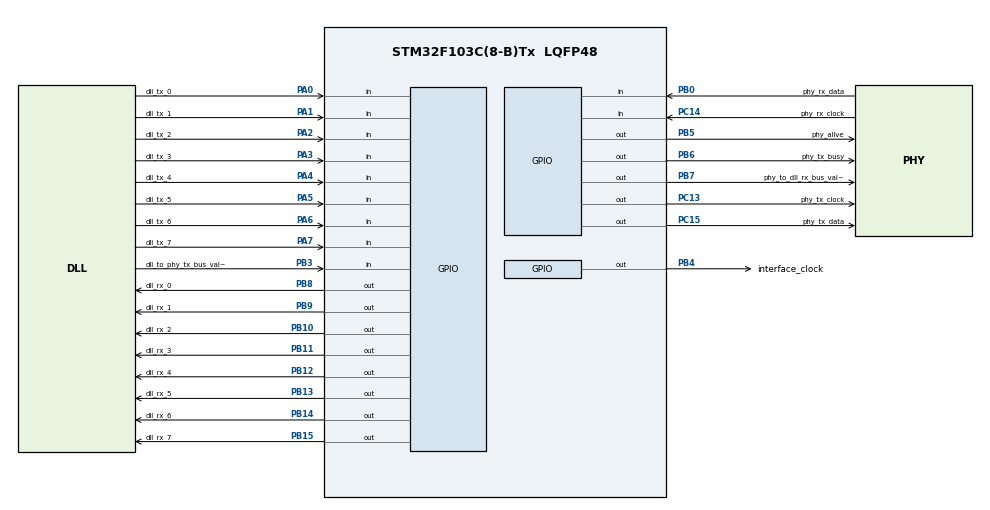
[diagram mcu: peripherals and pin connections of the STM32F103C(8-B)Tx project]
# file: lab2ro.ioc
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Mcu.Family=STM32F1
Mcu.Name=STM32F103C(8-B)Tx
Mcu.Package=LQFP48
NVIC.PriorityGroup=NVIC_PRIORITYGROUP_4
NVIC.TIM2_IRQn=true\:0\:0\:false\:true\:true\:1\:true
NVIC.TIM3_IRQn=true\:0\:0\:false\:true\:true\:2\:true
PA0-WKUP.GPIO_Label=dll_tx_0
PA0-WKUP.GPIO_PuPd=GPIO_PULLDOWN
PA0-WKUP.Signal=GPIO_Input
PA1.GPIO_Label=dll_tx_1
PA1.GPIO_PuPd=GPIO_PULLDOWN
PA1.Signal=GPIO_Input
PA13.Mode=Serial_Wire
PA13.Signal=SYS_JTMS-SWDIO
PA14.Mode=Serial_Wire
PA14.Signal=SYS_JTCK-SWCLK
PA2.GPIO_Label=dll_tx_2
PA2.GPIO_PuPd=GPIO_PULLDOWN
PA2.Signal=GPIO_Input
PA3.GPIO_Label=dll_tx_3
PA3.GPIO_PuPd=GPIO_PULLDOWN
PA3.Signal=GPIO_Input
PA4.GPIO_Label=dll_tx_4
PA4.GPIO_PuPd=GPIO_PULLDOWN
PA4.Signal=GPIO_Input
PA5.GPIO_Label=dll_tx_5
PA5.GPIO_PuPd=GPIO_PULLDOWN
PA5.Signal=GPIO_Input
PA6.GPIO_Label=dll_tx_6
PA6.GPIO_PuPd=GPIO_PULLDOWN
PA6.Signal=GPIO_Input
PA7.GPIO_Label=dll_tx_7
PA7.GPIO_PuPd=GPIO_PULLDOWN
PA7.Signal=GPIO_Input
PB0.GPIO_Label=phy_rx_data
PB0.GPIO_PuPd=GPIO_PULLDOWN
PB0.Signal=GPIO_Input
PB10.GPIO_Label=dll_rx_2
PB10.Signal=GPIO_Output
PB11.GPIO_Label=dll_rx_3
PB11.Signal=GPIO_Output
PB12.GPIO_Label=dll_rx_4
PB12.Signal=GPIO_Output
PB13.GPIO_Label=dll_rx_5
PB13.Signal=GPIO_Output
PB14.GPIO_Label=dll_rx_6
PB14.Signal=GPIO_Output
PB15.GPIO_Label=dll_rx_7
PB15.Signal=GPIO_Output
PB3.GPIO_Label=dll_to_phy_tx_bus_valid
PB3.GPIO_PuPd=GPIO_PULLDOWN
PB3.Signal=GPIO_Input
PB4.GPIO_Label=interface_clock
PB4.Signal=GPIO_Output
PB5.GPIO_Label=phy_alive
PB5.Signal=GPIO_Output
PB6.GPIO_Label=phy_tx_busy
PB6.Signal=GPIO_Output
PB7.GPIO_Label=phy_to_dll_rx_bus_valid
PB7.Signal=GPIO_Output
PB8.GPIO_Label=dll_rx_0
PB8.Signal=GPIO_Output
PB9.GPIO_Label=dll_rx_1
PB9.Signal=GPIO_Output
PC13-TAMPER-RTC.GPIO_Label=phy_tx_clock
PC13-TAMPER-RTC.Signal=GPIO_Output
PC14-OSC32_IN.GPIO_Label=phy_rx_clock
PC14-OSC32_IN.GPIO_PuPd=GPIO_PULLDOWN
PC14-OSC32_IN.Signal=GPIO_Input
PC15-OSC32_OUT.GPIO_Label=phy_tx_data
PC15-OSC32_OUT.Signal=GPIO_Output
ProjectManager.HeapSize=0x200
ProjectManager.StackSize=0x400
ProjectManager.TargetToolchain=MDK-ARM V5
RCC.APB1Freq_Value=8000000
RCC.APB2CLKDivider=RCC_HCLK_DIV16
RCC.APB2Freq_Value=500000
RCC.APB2TimFreq_Value=1000000
TIM2.Period=4
TIM2.Prescaler=19999
TIM3.Period=1
TIM3.Prescaler=19999
VP_TIM2_VS_ClockSourceINT.Mode=Internal
VP_TIM3_VS_ClockSourceINT.Mode=Internal
board=custom

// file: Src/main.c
/**
  ******************************************************************************
  * @file           : main.c
  * @brief          : Main program body
  ******************************************************************************
  ** This notice applies to any and all portions of this file
  * that are not between comment pairs USER CODE BEGIN and
  * USER CODE END. Other portions of this file, whether
  * inserted by the user or by software development tools
  * are owned by their respective copyright owners.
  *
  * COPYRIGHT(c) 2020 STMicroelectronics
  *
  * Redistribution and use in source and binary forms, with or without modification,
  * are permitted provided that the following conditions are met:
  *   1. Redistributions of source code must retain the above copyright notice,
  *      this list of conditions and the following disclaimer.
  *   2. Redistributions in binary form must reproduce the above copyright notice,
  *      this list of conditions and the following disclaimer in the documentation
  *      and/or other materials provided with the distribution.
  *   3. Neither the name of STMicroelectronics nor the names of its contributors
  *      may be used to endorse or promote products derived from this software
  *      without specific prior written permission.
  *
  * THIS SOFTWARE IS PROVIDED BY THE COPYRIGHT HOLDERS AND CONTRIBUTORS "AS IS"
  * AND ANY EXPRESS OR IMPLIED WARRANTIES, INCLUDING, BUT NOT LIMITED TO, THE
  * IMPLIED WARRANTIES OF MERCHANTABILITY AND FITNESS FOR A PARTICULAR PURPOSE ARE
  * DISCLAIMED. IN NO EVENT SHALL THE COPYRIGHT HOLDER OR CONTRIBUTORS BE LIABLE
  * FOR ANY DIRECT, INDIRECT, INCIDENTAL, SPECIAL, EXEMPLARY, OR CONSEQUENTIAL
  * DAMAGES (INCLUDING, BUT NOT LIMITED TO, PROCUREMENT OF SUBSTITUTE GOODS OR
  * SERVICES; LOSS OF USE, DATA, OR PROFITS; OR BUSINESS INTERRUPTION) HOWEVER
  * CAUSED AND ON ANY THEORY OF LIABILITY, WHETHER IN CONTRACT, STRICT LIABILITY,
  * OR TORT (INCLUDING NEGLIGENCE OR OTHERWISE) ARISING IN ANY WAY OUT OF THE USE
  * OF THIS SOFTWARE, EVEN IF ADVISED OF THE POSSIBILITY OF SUCH DAMAGE.
  *
  ******************************************************************************
  */
#include "main.h"
#include "stm32f1xx_hal.h"

/* USER CODE BEGIN Includes */
#include <stdint.h>
#define GPIOA_IDR 0x40010808
#define GPIOB_ODR 0x40010C0C
/* USER CODE END Includes */

TIM_HandleTypeDef htim2;
TIM_HandleTypeDef htim3;

/* USER CODE BEGIN PV */
/* Private variables ---------------------------------------------------------*/
uint32_t phy_to_dll_rx_bus = 0; // saves the data recived from the phy to phy and moves it to the dll_rx

uint8_t phy_to_dll_rx_bus_valid = 0; // checks if there is data to be transferd to the dll_rx from the phy layer

uint32_t dll_to_phy_tx_bus = 0; // saves the original data we want to transfer to the phy layer from the dll tx.

uint8_t dll_to_phy_tx_bus_valid = 0; // checks if theres data allready transferd from the dll to the [hy layer

uint8_t phy_tx_busy = 0; // checks if there is data being transmited at the moment.

int delay =0;
static uint8_t pr_clock_val=0;
static uint8_t p_clock_val = 0;
static uint32_t Rx_value = 0;
static uint32_t Tx_value = 0;
static uint8_t Rx_clock_value ;
static uint8_t Tx_clock_value ;
static uint16_t t_data =0;
static uint32_t c_clock=0;
int ft_flag=1;
static uint32_t prv_clock=0;
int ft2_flag=1;
uint8_t data=0;
uint8_t interface_tx_flag=0;
uint8_t interface_rx_flag=0;
static uint32_t *GPIOA_IDR_Pointer = (uint32_t*)GPIOA_IDR;
static uint32_t *GPIOB_ODR_Pointer = (uint32_t*)GPIOB_ODR;
static uint16_t odr_temp=0;
static uint32_t tempi = 0;
static uint32_t tempi2 = 0;

uint8_t senders[] = {201,0,192,0,223};
/* USER CODE END PV */

void SystemClock_Config(void);
static void MX_GPIO_Init(void);
static void MX_TIM2_Init(void);
static void MX_TIM3_Init(void);
static void MX_NVIC_Init(void);

/* USER CODE BEGIN PFP */
/* Private function prototypes -----------------------------------------------*/

/* USER CODE END PFP */

/* USER CODE BEGIN 0 */
void phy_Tx()
{
	static uint16_t shifter =1; // for the masking in order to iso the bit
	static uint8_t transfer = 0; // var to the masked bit // saves the prev clock value in order to check that we are in rising edge
	static uint8_t temp=0;	// takes the data from the bus
	Tx_clock_value = HAL_GPIO_ReadPin(phy_tx_clock_GPIO_Port, phy_tx_clock_Pin); // reads the current value of the clcok
	if(interface_tx_flag){  // checkes if we are in a new byte
		HAL_GPIO_WritePin(phy_tx_busy_GPIO_Port, phy_tx_busy_Pin, GPIO_PIN_SET); //set phy busy to 1
		HAL_TIM_Base_Start(&htim3); //turn on timer
		HAL_TIM_Base_Start_IT(&htim3);
		interface_tx_flag=0;
	}
	else if (Tx_clock_value && (!p_clock_val) && shifter <= 256) // checks if we are in a rising edge
	{
			transfer = ((dll_to_phy_tx_bus) &	(shifter));
			if (transfer == shifter)
			{
				HAL_GPIO_WritePin (phy_tx_data_GPIO_Port, phy_tx_data_Pin, GPIO_PIN_SET);	//inserts one to the data
				Tx_value =1;
			}
			else
			{
				HAL_GPIO_WritePin (phy_tx_data_GPIO_Port, phy_tx_data_Pin, GPIO_PIN_RESET); // inserts zero to data
				Tx_value =0;
			}
			shifter = shifter*2;
	}
	else if ( shifter > 256) // after the last bit
	{
		HAL_TIM_Base_Stop(&htim3);
		HAL_TIM_Base_Stop_IT(&htim3);
		HAL_GPIO_WritePin(phy_tx_clock_GPIO_Port, phy_tx_clock_Pin ,GPIO_PIN_RESET); //set clock to zero
		HAL_GPIO_WritePin(phy_tx_busy_GPIO_Port, phy_tx_busy_Pin, GPIO_PIN_RESET); //set phy busy to 1
		shifter =1; // reset the masker
	}
	p_clock_val = Tx_clock_value; // current clock into previos clock
}

void phy_Rx()
{
	static uint32_t tempi = 0;
	static uint32_t tempi2 = 0;
	static uint32_t s_counter =1; // counter for inserting the number  // prev clock
	Rx_clock_value = HAL_GPIO_ReadPin(phy_rx_clock_GPIO_Port, phy_rx_clock_Pin); // reads the current clock value
	if ( (!Rx_clock_value) && pr_clock_val) // checks that we are in falling edge
	{
		Rx_value = HAL_GPIO_ReadPin (phy_rx_data_GPIO_Port, phy_rx_data_Pin); // reads the data from the pin
		tempi = Rx_value * s_counter;
		tempi2 += tempi;
		s_counter = s_counter*2;
	}
	if (s_counter > 256)
	{
		s_counter =1;
		phy_to_dll_rx_bus = tempi2;
		interface_rx_flag =1;
		tempi2=0;
	}
	pr_clock_val = Rx_clock_value;

}

/*void phy_Rx()
{
	static uint32_t tempi = 0;
	static uint32_t tempi2 = 0;
	static uint32_t s_counter =1; // counter for inserting the number  // prev clock
	Rx_clock_value = HAL_GPIO_ReadPin(phy_rx_clock_GPIO_Port, phy_rx_clock_Pin); // reads the current clock value
	if ( (!Rx_clock_value) && pr_clock_val) // checks that we are in falling edge
	{
		Rx_value = HAL_GPIO_ReadPin (phy_rx_data_GPIO_Port, phy_rx_data_Pin); // reads the data from the pin
		tempi2 = Rx_value * s_counter;
		phy_to_dll_rx_bus += tempi2;// moves the bit for the correct spot and inserts in to the bus
		s_counter *=2;
	}
	pr_clock_val = Rx_clock_value;
	if (s_counter > 128){
		s_counter = 1;
		interface_rx_flag=1;
	}
}*/

void interface()
{
	uint32_t efi =0; // just kidding efi num 1 also oren
	if (ft_flag)
	{
		HAL_TIM_Base_Start(&htim2);
		HAL_TIM_Base_Start_IT(&htim2);
		ft_flag=0;
		prv_clock=0;
	}
	c_clock=HAL_GPIO_ReadPin(interface_clock_GPIO_Port, interface_clock_Pin);
	dll_to_phy_tx_bus_valid=HAL_GPIO_ReadPin(dll_to_phy_tx_bus_valid_GPIO_Port, dll_to_phy_tx_bus_valid_Pin);
	if(!c_clock&&prv_clock&&dll_to_phy_tx_bus_valid)
	{
		dll_to_phy_tx_bus=(*GPIOA_IDR_Pointer & 255);
		interface_tx_flag=1;
	}
	else if ((c_clock)&&(!prv_clock))
		{
			if (ft2_flag)
			{
				HAL_GPIO_WritePin(phy_alive_GPIO_Port, phy_alive_Pin,GPIO_PIN_SET);
				ft2_flag=0;
			}
			phy_to_dll_rx_bus_valid=HAL_GPIO_ReadPin(phy_to_dll_rx_bus_valid_GPIO_Port, phy_to_dll_rx_bus_valid_Pin);
			if (phy_to_dll_rx_bus_valid)
			{
				HAL_GPIO_WritePin(phy_to_dll_rx_bus_valid_GPIO_Port, phy_to_dll_rx_bus_valid_Pin,GPIO_PIN_RESET);
			}
			if (interface_rx_flag)
			{
				efi = (phy_to_dll_rx_bus<<8) + (*GPIOB_ODR_Pointer & 255);
				*GPIOB_ODR_Pointer = efi;
				HAL_GPIO_WritePin(phy_to_dll_rx_bus_valid_GPIO_Port,phy_to_dll_rx_bus_valid_Pin,GPIO_PIN_SET);
				phy_to_dll_rx_bus_valid =1;
				//phy_to_dll_rx_bus=0;
				interface_rx_flag=0;
			}
		}
	prv_clock=c_clock;

}

/*void interface()
{
	static uint32_t *GPIOA_IDR_Pointer = (uint32_t*)GPIOA_IDR;
	static uint32_t *GPIOB_ODR_Pointer = (uint32_t*)GPIOB_ODR;
	static uint16_t odr_temp=0;
	if (ft_flag)
	{
	HAL_TIM_Base_Start(&htim2); //turn on timer
	HAL_TIM_Base_Start_IT(&htim2);
	ft_flag=0;
	}
	c_clock=HAL_GPIO_ReadPin(interface_clock_GPIO_Port, interface_clock_Pin);
	if ((c_clock)&&(!prv_clock) && (ft2_flag))
	{
	  ft2_flag=0;
		HAL_GPIO_WritePin(phy_alive_GPIO_Port,phy_alive_Pin,GPIO_PIN_SET);
	}
	dll_to_phy_tx_bus_valid = HAL_GPIO_ReadPin(dll_to_phy_tx_bus_valid_GPIO_Port, dll_to_phy_tx_bus_valid_Pin);
	if(!c_clock&&prv_clock&&dll_to_phy_tx_bus_valid)
	{
		dll_to_phy_tx_bus=(*GPIOA_IDR_Pointer & mask);
		interface_tx_flag=1;
	}
	else if (c_clock&&!prv_clock)
	{

		*GPIOB_ODR_Pointer=dll_to_phy_tx_bus;
		phy_to_dll_rx_bus_valid=HAL_GPIO_ReadPin(phy_to_dll_rx_bus_valid_GPIO_Port,phy_to_dll_rx_bus_valid_Pin);
		if (phy_to_dll_rx_bus_valid)
		{
			HAL_GPIO_WritePin(phy_to_dll_rx_bus_valid_GPIO_Port,phy_to_dll_rx_bus_valid_Pin,GPIO_PIN_RESET);
		}
		if (interface_rx_flag)
		{
			odr_temp=(*GPIOB_ODR_Pointer & mask);
			phy_to_dll_rx_bus = (phy_to_dll_rx_bus<<3) + (odr_temp);
			*GPIOB_ODR_Pointer = phy_to_dll_rx_bus;
			HAL_GPIO_WritePin(phy_to_dll_rx_bus_valid_GPIO_Port,phy_to_dll_rx_bus_valid_Pin,GPIO_PIN_SET);
			interface_rx_flag=0;
		}
	}
	prv_clock=c_clock;
}*/

void phy_layer()
{
	phy_Tx();
	phy_Rx();

}

void sampleClocks()
{
	p_clock_val=Tx_clock_value;
	pr_clock_val=Rx_clock_value;
	//prv_clock=c_clock;
	Tx_clock_value=HAL_GPIO_ReadPin(phy_tx_clock_GPIO_Port, phy_tx_clock_Pin);
	Rx_clock_value=HAL_GPIO_ReadPin(phy_rx_clock_GPIO_Port, phy_rx_clock_Pin);
	//c_clock=HAL_GPIO_ReadPin(interface_clock_GPIO_Port, interface_clock_Pin);
	//dll_to_phy_tx_bus_valid=HAL_GPIO_ReadPin(dll_to_phy_tx_bus_valid_GPIO_Port, dll_to_phy_tx_bus_valid_Pin);
}

/* USER CODE END 0 */

int main(void)
{

  /* MCU Configuration----------------------------------------------------------*/

  /* Reset of all peripherals, Initializes the Flash interface and the Systick. */
  HAL_Init();

  /* Configure the system clock */
  SystemClock_Config();

  /* Initialize all configured peripherals */
  MX_GPIO_Init();
  MX_TIM2_Init();
  MX_TIM3_Init();

  /* Initialize interrupts */
  MX_NVIC_Init();
  /* USER CODE BEGIN 2 */
	HAL_GPIO_WritePin(phy_tx_clock_GPIO_Port, phy_tx_clock_Pin ,GPIO_PIN_RESET); //set clock to zero

  /* USER CODE END 2 */

  /* Infinite loop */
  /* USER CODE BEGIN WHILE */
  while (1)
  {
		//sampleClocks();
		phy_layer();
		interface();

  /* USER CODE END WHILE */

  }

}

void SystemClock_Config(void)
{

  RCC_OscInitTypeDef RCC_OscInitStruct;
  RCC_ClkInitTypeDef RCC_ClkInitStruct;

    /**Initializes the CPU, AHB and APB busses clocks
    */
  RCC_OscInitStruct.OscillatorType = RCC_OSCILLATORTYPE_HSI;
  RCC_OscInitStruct.HSIState = RCC_HSI_ON;
  RCC_OscInitStruct.HSICalibrationValue = 16;
  RCC_OscInitStruct.PLL.PLLState = RCC_PLL_NONE;
  if (HAL_RCC_OscConfig(&RCC_OscInitStruct) != HAL_OK)
  {
    _Error_Handler(__FILE__, __LINE__);
  }

    /**Initializes the CPU, AHB and APB busses clocks
    */
  RCC_ClkInitStruct.ClockType = RCC_CLOCKTYPE_HCLK|RCC_CLOCKTYPE_SYSCLK
                              |RCC_CLOCKTYPE_PCLK1|RCC_CLOCKTYPE_PCLK2;
  RCC_ClkInitStruct.SYSCLKSource = RCC_SYSCLKSOURCE_HSI;
  RCC_ClkInitStruct.AHBCLKDivider = RCC_SYSCLK_DIV1;
  RCC_ClkInitStruct.APB1CLKDivider = RCC_HCLK_DIV1;
  RCC_ClkInitStruct.APB2CLKDivider = RCC_HCLK_DIV16;

  if (HAL_RCC_ClockConfig(&RCC_ClkInitStruct, FLASH_LATENCY_0) != HAL_OK)
  {
    _Error_Handler(__FILE__, __LINE__);
  }

    /**Configure the Systick interrupt time
    */
  HAL_SYSTICK_Config(HAL_RCC_GetHCLKFreq()/1000);

    /**Configure the Systick
    */
  HAL_SYSTICK_CLKSourceConfig(SYSTICK_CLKSOURCE_HCLK);

  /* SysTick_IRQn interrupt configuration */
  HAL_NVIC_SetPriority(SysTick_IRQn, 0, 0);
}

/**
  * @brief NVIC Configuration.
  * @retval None
  */
static void MX_NVIC_Init(void)
{
  /* TIM2_IRQn interrupt configuration */
  HAL_NVIC_SetPriority(TIM2_IRQn, 0, 0);
  HAL_NVIC_EnableIRQ(TIM2_IRQn);
  /* TIM3_IRQn interrupt configuration */
  HAL_NVIC_SetPriority(TIM3_IRQn, 0, 0);
  HAL_NVIC_EnableIRQ(TIM3_IRQn);
}

/* TIM2 init function */
static void MX_TIM2_Init(void)
{

  TIM_ClockConfigTypeDef sClockSourceConfig;
  TIM_MasterConfigTypeDef sMasterConfig;

  htim2.Instance = TIM2;
  htim2.Init.Prescaler = 19999;
  htim2.Init.CounterMode = TIM_COUNTERMODE_UP;
  htim2.Init.Period = 4;
  htim2.Init.ClockDivision = TIM_CLOCKDIVISION_DIV1;
  htim2.Init.AutoReloadPreload = TIM_AUTORELOAD_PRELOAD_DISABLE;
  if (HAL_TIM_Base_Init(&htim2) != HAL_OK)
  {
    _Error_Handler(__FILE__, __LINE__);
  }

  sClockSourceConfig.ClockSource = TIM_CLOCKSOURCE_INTERNAL;
  if (HAL_TIM_ConfigClockSource(&htim2, &sClockSourceConfig) != HAL_OK)
  {
    _Error_Handler(__FILE__, __LINE__);
  }

  sMasterConfig.MasterOutputTrigger = TIM_TRGO_RESET;
  sMasterConfig.MasterSlaveMode = TIM_MASTERSLAVEMODE_DISABLE;
  if (HAL_TIMEx_MasterConfigSynchronization(&htim2, &sMasterConfig) != HAL_OK)
  {
    _Error_Handler(__FILE__, __LINE__);
  }

}

/* TIM3 init function */
static void MX_TIM3_Init(void)
{

  TIM_ClockConfigTypeDef sClockSourceConfig;
  TIM_MasterConfigTypeDef sMasterConfig;

  htim3.Instance = TIM3;
  htim3.Init.Prescaler = 19999;
  htim3.Init.CounterMode = TIM_COUNTERMODE_UP;
  htim3.Init.Period = 1;
  htim3.Init.ClockDivision = TIM_CLOCKDIVISION_DIV1;
  htim3.Init.AutoReloadPreload = TIM_AUTORELOAD_PRELOAD_DISABLE;
  if (HAL_TIM_Base_Init(&htim3) != HAL_OK)
  {
    _Error_Handler(__FILE__, __LINE__);
  }

  sClockSourceConfig.ClockSource = TIM_CLOCKSOURCE_INTERNAL;
  if (HAL_TIM_ConfigClockSource(&htim3, &sClockSourceConfig) != HAL_OK)
  {
    _Error_Handler(__FILE__, __LINE__);
  }

  sMasterConfig.MasterOutputTrigger = TIM_TRGO_RESET;
  sMasterConfig.MasterSlaveMode = TIM_MASTERSLAVEMODE_DISABLE;
  if (HAL_TIMEx_MasterConfigSynchronization(&htim3, &sMasterConfig) != HAL_OK)
  {
    _Error_Handler(__FILE__, __LINE__);
  }

}

/** Configure pins as
        * Analog
        * Input
        * Output
        * EVENT_OUT
        * EXTI
*/
static void MX_GPIO_Init(void)
{

  GPIO_InitTypeDef GPIO_InitStruct;

  /* GPIO Ports Clock Enable */
  __HAL_RCC_GPIOC_CLK_ENABLE();
  __HAL_RCC_GPIOA_CLK_ENABLE();
  __HAL_RCC_GPIOB_CLK_ENABLE();

  /*Configure GPIO pin Output Level */
  HAL_GPIO_WritePin(GPIOC, phy_tx_clock_Pin|phy_tx_data_Pin, GPIO_PIN_RESET);

  /*Configure GPIO pin Output Level */
  HAL_GPIO_WritePin(GPIOB, dll_rx_2_Pin|dll_rx_3_Pin|dll_rx_4_Pin|dll_rx_5_Pin
                          |dll_rx_6_Pin|dll_rx_7_Pin|interface_clock_Pin|phy_alive_Pin
                          |phy_tx_busy_Pin|phy_to_dll_rx_bus_valid_Pin|dll_rx_0_Pin|dll_rx_1_Pin, GPIO_PIN_RESET);

  /*Configure GPIO pins : phy_tx_clock_Pin phy_tx_data_Pin */
  GPIO_InitStruct.Pin = phy_tx_clock_Pin|phy_tx_data_Pin;
  GPIO_InitStruct.Mode = GPIO_MODE_OUTPUT_PP;
  GPIO_InitStruct.Pull = GPIO_NOPULL;
  GPIO_InitStruct.Speed = GPIO_SPEED_FREQ_LOW;
  HAL_GPIO_Init(GPIOC, &GPIO_InitStruct);

  /*Configure GPIO pin : phy_rx_clock_Pin */
  GPIO_InitStruct.Pin = phy_rx_clock_Pin;
  GPIO_InitStruct.Mode = GPIO_MODE_INPUT;
  GPIO_InitStruct.Pull = GPIO_PULLDOWN;
  HAL_GPIO_Init(phy_rx_clock_GPIO_Port, &GPIO_InitStruct);

  /*Configure GPIO pins : dll_tx_0_Pin dll_tx_1_Pin dll_tx_2_Pin dll_tx_3_Pin
                           dll_tx_4_Pin dll_tx_5_Pin dll_tx_6_Pin dll_tx_7_Pin */
  GPIO_InitStruct.Pin = dll_tx_0_Pin|dll_tx_1_Pin|dll_tx_2_Pin|dll_tx_3_Pin
                          |dll_tx_4_Pin|dll_tx_5_Pin|dll_tx_6_Pin|dll_tx_7_Pin;
  GPIO_InitStruct.Mode = GPIO_MODE_INPUT;
  GPIO_InitStruct.Pull = GPIO_PULLDOWN;
  HAL_GPIO_Init(GPIOA, &GPIO_InitStruct);

  /*Configure GPIO pins : phy_rx_data_Pin dll_to_phy_tx_bus_valid_Pin */
  GPIO_InitStruct.Pin = phy_rx_data_Pin|dll_to_phy_tx_bus_valid_Pin;
  GPIO_InitStruct.Mode = GPIO_MODE_INPUT;
  GPIO_InitStruct.Pull = GPIO_PULLDOWN;
  HAL_GPIO_Init(GPIOB, &GPIO_InitStruct);

  /*Configure GPIO pins : dll_rx_2_Pin dll_rx_3_Pin dll_rx_4_Pin dll_rx_5_Pin
                           dll_rx_6_Pin dll_rx_7_Pin interface_clock_Pin phy_alive_Pin
                           phy_tx_busy_Pin phy_to_dll_rx_bus_valid_Pin dll_rx_0_Pin dll_rx_1_Pin */
  GPIO_InitStruct.Pin = dll_rx_2_Pin|dll_rx_3_Pin|dll_rx_4_Pin|dll_rx_5_Pin
                          |dll_rx_6_Pin|dll_rx_7_Pin|interface_clock_Pin|phy_alive_Pin
                          |phy_tx_busy_Pin|phy_to_dll_rx_bus_valid_Pin|dll_rx_0_Pin|dll_rx_1_Pin;
  GPIO_InitStruct.Mode = GPIO_MODE_OUTPUT_PP;
  GPIO_InitStruct.Pull = GPIO_NOPULL;
  GPIO_InitStruct.Speed = GPIO_SPEED_FREQ_LOW;
  HAL_GPIO_Init(GPIOB, &GPIO_InitStruct);

}

void _Error_Handler(char *file, int line)
{
  while(1)
  {
  }
}

/************************ (C) COPYRIGHT STMicroelectronics *****END OF FILE****/
